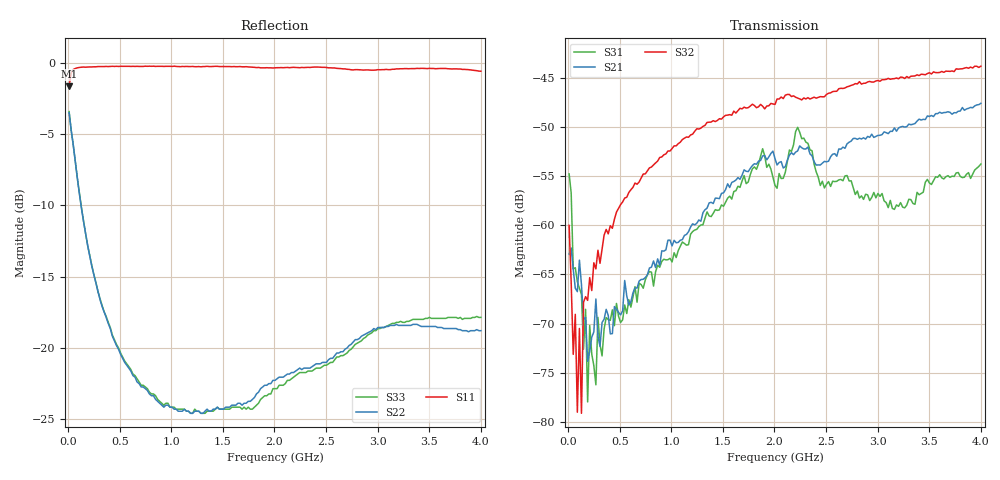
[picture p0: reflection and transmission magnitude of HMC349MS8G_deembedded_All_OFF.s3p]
!Hittite Microwave Corporation
!12 Elizabeth Drive
!Chelmsford, MA 01824
!Tel: 978-250-3343
!Fax: 978-250-3373
!Device: HMC349MS8G, DC-4 GHz, High Isolation SPDT Non-Reflective Switch in 8-lead plastic SMT package with exposed ground paddle
!Misc: Vdd=5V, Port1=RFC, Port2=RF1, Port3=RF2, All Off, Room
# MHZ S MA R 50
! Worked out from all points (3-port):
!   201 points, 10 MHz to 4 GHz, reference 50 ohm
!   strongest paths, dB at 10 MHz, 1.008 GHz, 2.005 GHz, 3.002 GHz, 4 GHz:
!     S32: -60.0, -52.2, -47.7, -45.3, -43.8
!     S21: -62.9, -62.1, -53.2, -50.9, -47.6
!     S31: -54.8, -63.7, -55.9, -56.8, -53.8
!   lowest |S11| = -1.6 dB at 10 MHz (marker M1), VSWR 10.56, Z = 212 + j256 ohm
!   |S11| at or under -10 dB: nowhere
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10  0.827 13.4  0.001171 45.1  0.001728 -46.7
    0.000713 -104.1  0.669 -15.2  0.004598 22.2
    0.001824 -126.6  0.0009979 131.4  0.675 -15.1
29.95  0.92 6.0  0.001308 -11.8  0.001207 -21.3
       0.0007661 -31.2  0.581 -25.1  0.0002224 121.5
       0.001461 -12.3  0.0005142 41.3  0.581 -25.1
49.9  0.948 3.1  0.0005551 -59.8  0.0006308 -39.6
      0.0005976 -31.6  0.516 -32.9  0.0001455 4.6
      0.0006003 -5.6  0.0002207 135.9  0.516 -32.9
109.75  0.964 -1.6  0.0006028 -33.0  0.0006572 -48.5
        0.0006648 -26.3  0.347 -49.3  0.00027 113.9
        0.0004794 -50.1  0.0002988 -171.8  0.349 -49.3
129.7  0.966 -2.7  0.0003787 -35.6  0.0001962 -25.7
       0.0004975 -55.2  0.309 -52.0  0.0002473 102.9
       0.0004449 -48.8  0.0001107 4.2  0.31 -52.1
189.55  0.967 -5.5  0.0004037 -3.4  0.0002685 -17.4
        0.000203 -11.1  0.229 -56.3  0.0005049 106.1
        0.0001265 15.5  0.0004151 122.5  0.229 -56.3
2005  0.961 -76.5  0.002174 76.6  0.001521 67.3
      0.002181 75.8  0.077 36.1  0.004207 93.8
      0.001595 68.4  0.004111 93.6  0.072 26.7
2244.4  0.962 -85.4  0.002436 79.9  0.003024 61.2
        0.00253 80.6  0.085 42.4  0.004407 88.5
        0.002969 60.6  0.004386 88.6  0.082 31.8
2264.35  0.964 -34.7  0.00244 78.7  0.002722 59.4
         0.002476 79.7  0.084 -8.7  0.004296 38.0
         0.002753 57.4  0.004336 39.0  0.082 -19.6
4000  0.935 -99.5  0.004179 94.3  0.00204 113.8
      0.004165 95.3  0.115 22.6  0.006375 33.6
      0.002047 114.0  0.006434 33.2  0.128 13.4
